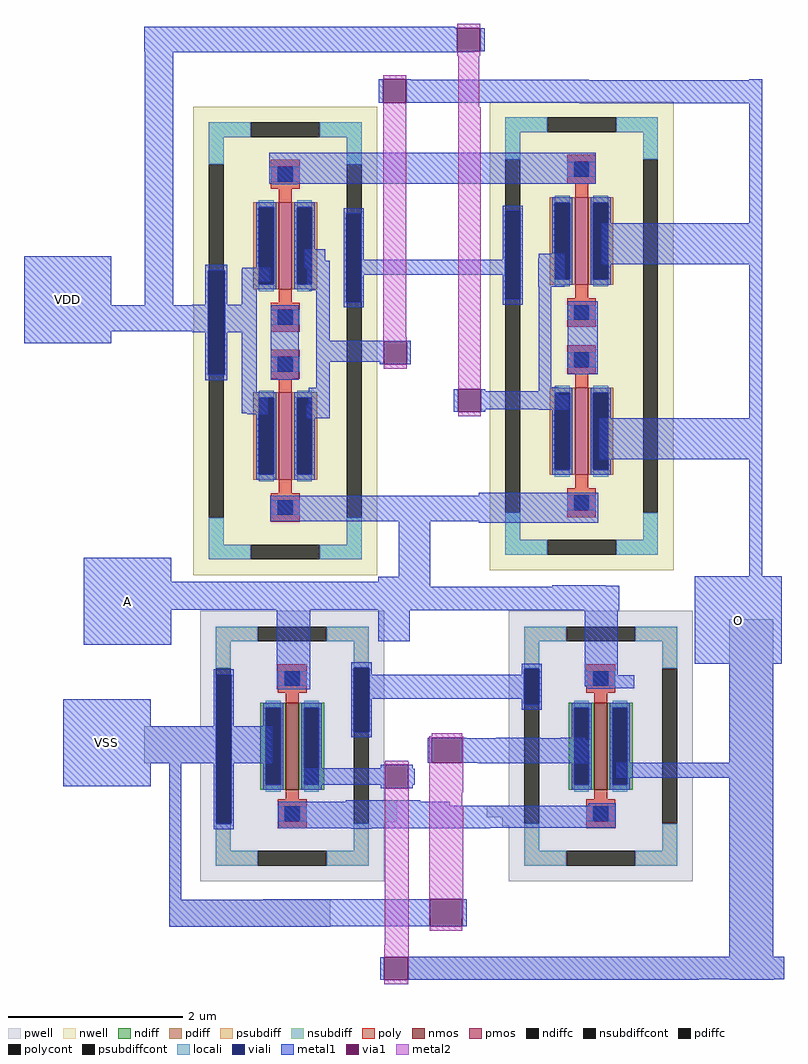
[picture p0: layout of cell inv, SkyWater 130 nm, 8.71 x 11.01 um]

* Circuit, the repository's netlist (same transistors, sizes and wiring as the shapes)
** sch_path: /home/ubuntu/Desktop/design/xschem/inv.sch
.subckt inv A VDD O VSS
*.PININFO A:B O:B VDD:B VSS:B
XM1 O A VSS VSS sky130_fd_pr__nfet_01v8 L=0.15 W=1 nf=1 ad='int((nf+1)/2) * W/nf * 0.29' as='int((nf+2)/2) * W/nf * 0.29'
+ pd='2*int((nf+1)/2) * (W/nf + 0.29)' ps='2*int((nf+2)/2) * (W/nf + 0.29)' nrd='0.29 / W' nrs='0.29 / W'
+ sa=0 sb=0 sd=0 mult=2 m=2
XM2 O A VDD VDD sky130_fd_pr__pfet_01v8 L=0.15 W=1 nf=1 ad='int((nf+1)/2) * W/nf * 0.29' as='int((nf+2)/2) * W/nf * 0.29'
+ pd='2*int((nf+1)/2) * (W/nf + 0.29)' ps='2*int((nf+2)/2) * (W/nf + 0.29)' nrd='0.29 / W' nrs='0.29 / W'
+ sa=0 sb=0 sd=0 mult=4 m=4
**** begin user architecture code

** opencircuitdesign pdks install
.lib /usr/local/share/pdk/sky130A/libs.tech/ngspice/sky130.lib.spice tt_mm





.control

save all

tran 0.1n 200n
write inv.raw
.endc


**** end user architecture code
.ends
.end

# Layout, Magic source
magic
tech sky130A
magscale 1 2
<< nwell >>
rect 1584 1218 1643 1229
rect 1583 1161 1643 1218
rect 1583 1153 1642 1161
rect 1611 1135 1612 1153
rect 1597 923 1612 1135
rect 1597 884 1630 923
<< pwell >>
rect 1693 233 1702 263
rect 680 61 973 146
rect 2020 62 2121 391
rect 737 -252 765 61
rect 1761 27 2121 62
rect 1142 -26 1259 -24
rect 1142 -27 1193 -26
rect 1142 -75 1170 -27
rect 1229 -75 1259 -26
rect 1465 -48 1639 -37
rect 1465 -63 1674 -48
rect 1500 -84 1674 -63
rect 737 -314 1106 -252
rect 2020 -383 2121 27
rect 1281 -434 2146 -383
rect 1281 -436 1951 -434
rect 2020 -436 2121 -434
<< viali >>
rect 826 951 864 1191
rect 1143 1118 1177 1321
rect 1507 1124 1541 1327
rect 845 -78 879 264
rect 1160 132 1195 280
rect 1551 195 1585 277
<< metal1 >>
rect 680 1747 1393 1749
rect 680 1746 1436 1747
rect 680 1693 1397 1746
rect 1450 1693 1460 1746
rect 681 1691 1436 1693
rect 404 1111 604 1223
rect 681 1111 746 1691
rect 1217 1575 1227 1628
rect 1280 1627 1290 1628
rect 1280 1626 1698 1627
rect 2066 1626 2096 1628
rect 1280 1575 2096 1626
rect 1677 1574 2096 1575
rect 966 1389 1714 1460
rect 1137 1321 1183 1333
rect 1048 1213 1095 1239
rect 820 1191 870 1203
rect 904 1193 969 1196
rect 1048 1195 1105 1213
rect 820 1112 826 1191
rect 790 1111 826 1112
rect 404 1051 826 1111
rect 404 1023 604 1051
rect 790 1049 826 1051
rect 820 951 826 1049
rect 864 1112 870 1191
rect 903 1166 969 1193
rect 903 1112 938 1166
rect 1053 1159 1105 1195
rect 1058 1145 1105 1159
rect 864 1049 938 1112
rect 864 951 870 1049
rect 820 939 870 951
rect 903 905 938 1049
rect 970 940 1034 1110
rect 1074 1029 1105 1145
rect 1137 1118 1143 1321
rect 1177 1215 1183 1321
rect 1501 1327 1547 1339
rect 1501 1215 1507 1327
rect 1177 1181 1507 1215
rect 1177 1118 1183 1181
rect 1137 1106 1183 1118
rect 1501 1124 1507 1181
rect 1541 1124 1547 1327
rect 2066 1298 2096 1574
rect 1584 1218 1643 1229
rect 1583 1161 1643 1218
rect 1728 1205 2096 1298
rect 1583 1153 1642 1161
rect 1501 1112 1547 1124
rect 1074 1027 1290 1029
rect 1074 981 1229 1027
rect 1074 922 1105 981
rect 1219 975 1229 981
rect 1281 975 1291 1027
rect 903 863 963 905
rect 1057 883 1105 922
rect 1584 923 1612 1153
rect 1650 952 1719 1120
rect 916 861 963 863
rect 1052 852 1105 883
rect 1389 866 1399 918
rect 1451 914 1461 918
rect 1584 914 1630 923
rect 1451 904 1630 914
rect 1451 872 1653 904
rect 1451 866 1461 872
rect 1584 871 1653 872
rect 2066 851 2096 1205
rect 1723 758 2096 851
rect 1446 674 1720 681
rect 968 616 1720 674
rect 541 477 741 532
rect 1263 488 1335 616
rect 1446 612 1720 616
rect 2066 489 2096 758
rect 1216 477 1335 488
rect 541 465 1335 477
rect 1615 468 1738 469
rect 1615 465 1768 468
rect 541 413 1768 465
rect 541 332 741 413
rect 839 264 885 276
rect 494 146 694 208
rect 839 146 845 264
rect 494 61 845 146
rect 494 8 694 61
rect 737 -252 765 61
rect 839 -78 845 61
rect 879 146 885 264
rect 983 230 1060 413
rect 1216 412 1768 413
rect 1216 340 1288 412
rect 1645 411 1768 412
rect 1154 280 1201 292
rect 879 61 973 146
rect 1154 132 1160 280
rect 1195 264 1201 280
rect 1545 277 1591 289
rect 1545 264 1551 277
rect 1195 209 1551 264
rect 1195 132 1201 209
rect 1545 195 1551 209
rect 1585 195 1591 277
rect 1689 263 1765 411
rect 1941 289 2141 489
rect 1689 237 1803 263
rect 1693 233 1803 237
rect 1545 183 1591 195
rect 1154 120 1201 132
rect 1329 62 1339 119
rect 1408 118 1418 119
rect 1486 118 1589 119
rect 1634 118 1690 119
rect 1408 113 1690 118
rect 1408 86 1700 113
rect 1408 62 1696 86
rect 1444 61 1696 62
rect 879 -78 885 61
rect 1698 57 1700 86
rect 2020 62 2121 289
rect 1222 49 1232 57
rect 1047 11 1232 49
rect 1222 4 1232 11
rect 1285 48 1295 57
rect 1285 12 1300 48
rect 1761 27 2121 62
rect 1285 4 1295 12
rect 1142 -28 1312 -24
rect 839 -90 885 -78
rect 987 -37 1380 -28
rect 1699 -37 1760 -31
rect 987 -87 1760 -37
rect 987 -88 1473 -87
rect 1154 -89 1201 -88
rect 952 -252 1334 -251
rect 737 -313 1334 -252
rect 1408 -313 1419 -251
rect 737 -314 1106 -313
rect 2020 -383 2121 27
rect 1281 -384 2146 -383
rect 1220 -436 1230 -384
rect 1285 -434 2146 -384
rect 1285 -436 1951 -434
rect 2020 -436 2121 -434
<< via1 >>
rect 1397 1693 1450 1746
rect 1227 1575 1280 1628
rect 1229 975 1281 1027
rect 1399 866 1451 918
rect 1339 62 1408 119
rect 1232 4 1285 57
rect 1334 -313 1408 -251
rect 1230 -436 1285 -384
<< metal2 >>
rect 1397 1746 1450 1756
rect 1397 1683 1450 1693
rect 1227 1628 1280 1638
rect 1227 1565 1280 1575
rect 1228 1037 1280 1565
rect 1399 1564 1448 1683
rect 1228 1027 1281 1037
rect 1228 982 1229 1027
rect 1229 965 1281 975
rect 1399 918 1451 1564
rect 1399 856 1451 866
rect 1339 123 1408 129
rect 1333 119 1411 123
rect 1232 63 1285 67
rect 1231 57 1286 63
rect 1231 4 1232 57
rect 1285 4 1286 57
rect 1231 -356 1286 4
rect 1333 62 1339 119
rect 1408 62 1411 119
rect 1333 -6 1411 62
rect 1333 -37 1409 -6
rect 1333 -251 1411 -37
rect 1333 -294 1334 -251
rect 1408 -294 1411 -251
rect 1334 -323 1408 -313
rect 1230 -384 1286 -356
rect 1285 -404 1286 -384
rect 1230 -446 1285 -436
use sky130_fd_pr__nfet_01v8_648S5X  XM1
transform 1 0 1019 0 1 100
box -211 -310 211 310
use sky130_fd_pr__nfet_01v8_648S5X  sky130_fd_pr__nfet_01v8_648S5X_0
transform 1 0 1726 0 1 100
box -211 -310 211 310
use sky130_fd_pr__pfet_01v8_UGSVTG  sky130_fd_pr__pfet_01v8_UGSVTG_0
transform 1 0 1003 0 1 1029
box -211 -537 211 537
use sky130_fd_pr__pfet_01v8_UGSVTG  sky130_fd_pr__pfet_01v8_UGSVTG_1
transform 1 0 1682 0 1 1040
box -211 -537 211 537
<< labels >>
flabel metal1 541 332 741 532 0 FreeSans 256 0 0 0 A
port 0 nsew
flabel metal1 404 1023 604 1223 0 FreeSans 256 0 0 0 VDD
port 1 nsew
flabel metal1 1941 289 2141 489 0 FreeSans 256 0 0 0 O
port 2 nsew
flabel metal1 494 8 694 208 0 FreeSans 256 0 0 0 VSS
port 3 nsew
<< end >>

# cell sky130_fd_pr__nfet_01v8_648S5X: kit device sky130_fd_pr__nfet_01v8, w 1.0 l 0.15 m 1 nf 1 diffcov 100 polycov 100 guard 1 glc 1 grc 1 gtc 1 gbc 1 tbcov 100 rlcov 100 topc 1 botc 1 poverlap 0 doverlap 1 lmin 0.15 wmin 0.42 compatible {sky130_fd_pr__nfet_01v8 sky130_fd_pr__nfet_01v8_lvt sky130_fd_bs_flash__special_sonosfet_star sky130_fd_pr__nfet_g5v0d10v5 sky130_fd_pr__nfet_05v0_nvt sky130_fd_pr__nfet_03v3_nvt} full_metal 1 viasrc 100 viadrn 100 viagate 100 viagb 0 viagr 0 viagl 0 viagt 0

# cell sky130_fd_pr__pfet_01v8_UGSVTG: kit device sky130_fd_pr__pfet_01v8, w 1.0 l 0.15 m 2 nf 1 diffcov 100 polycov 100 guard 1 glc 1 grc 1 gtc 1 gbc 1 tbcov 100 rlcov 100 topc 1 botc 1 poverlap 0 doverlap 1 lmin 0.15 wmin 0.42 compatible {sky130_fd_pr__pfet_01v8 sky130_fd_pr__pfet_01v8_lvt sky130_fd_pr__pfet_01v8_hvt sky130_fd_pr__pfet_g5v0d10v5} full_metal 1 viasrc 100 viadrn 100 viagate 100 viagb 0 viagr 0 viagl 0 viagt 0
